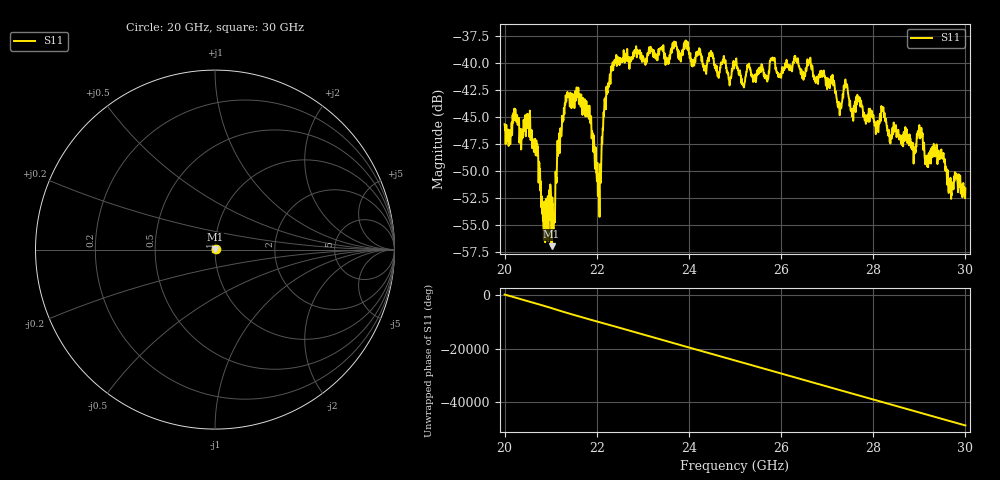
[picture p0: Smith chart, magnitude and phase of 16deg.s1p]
#  HZ  S  RI  R  50.00
! Rohde & Schwarz ZVA40 4Ports - Version 3.90 - 1145.1110k42 SN: 100403
! Date: 2023-10-03 12:44:54
! Measurement: S12
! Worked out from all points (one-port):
!   5001 points, 20 GHz to 30 GHz, reference 50 ohm
!   lowest |S11| = -57.0 dB at 21.02 GHz (marker M1), VSWR 1.00, Z = 50.1 + j0.118 ohm
!   |S11| at or under -10 dB: start of sweep to end of sweep
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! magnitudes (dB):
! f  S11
! 20 GHz  -45.7
! 20.51 GHz  -44.8
! 20.71 GHz  -47.5
! 20.84 GHz  -55.0
! 21.02 GHz  -57.0
! 21.06 GHz  -54.8
! 21.25 GHz  -44.9
! 21.36 GHz  -43.1
! 21.81 GHz  -44.6
! 22.04 GHz  -51.5
! 22.21 GHz  -42.2
! 22.5 GHz  -39.7
! 23.75 GHz  -38.8
! 24.87 GHz  -41.7
! 25 GHz  -40.2
! 25.18 GHz  -42.1
! 26.25 GHz  -40.2
! 27.11 GHz  -41.2
! 27.27 GHz  -44.3
! 27.41 GHz  -42.1
! 27.5 GHz  -43.6
! 28.75 GHz  -46.7
! 28.89 GHz  -47.8
! 29.02 GHz  -46.9
! 29.16 GHz  -48.9
! 29.34 GHz  -48.0
! 29.67 GHz  -50.8
! 30 GHz  -51.7
